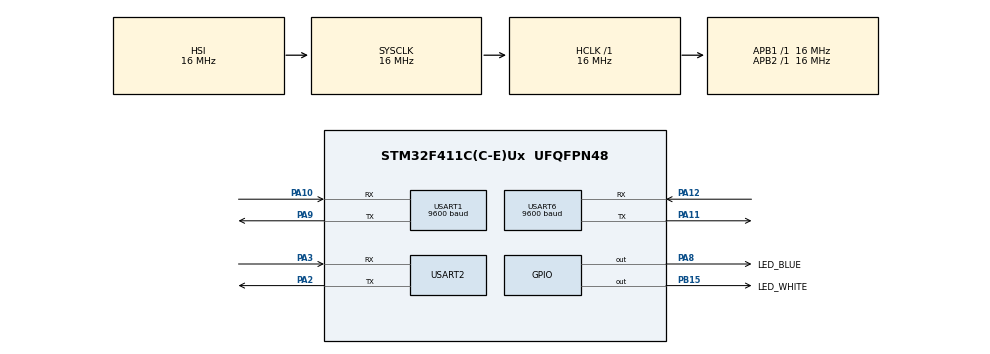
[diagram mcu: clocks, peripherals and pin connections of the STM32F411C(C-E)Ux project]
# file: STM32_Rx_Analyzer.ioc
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Dma.Request0=USART1_RX
Dma.Request1=USART2_TX
Dma.Request2=USART6_RX
Dma.USART1_RX.0.Direction=DMA_PERIPH_TO_MEMORY
Dma.USART1_RX.0.FIFOMode=DMA_FIFOMODE_DISABLE
Dma.USART1_RX.0.Instance=DMA2_Stream2
Dma.USART1_RX.0.MemDataAlignment=DMA_MDATAALIGN_BYTE
Dma.USART1_RX.0.MemInc=DMA_MINC_ENABLE
Dma.USART1_RX.0.Mode=DMA_NORMAL
Dma.USART1_RX.0.PeriphDataAlignment=DMA_PDATAALIGN_BYTE
Dma.USART1_RX.0.PeriphInc=DMA_PINC_DISABLE
Dma.USART1_RX.0.Priority=DMA_PRIORITY_LOW
Dma.USART2_TX.1.Direction=DMA_MEMORY_TO_PERIPH
Dma.USART2_TX.1.FIFOMode=DMA_FIFOMODE_DISABLE
Dma.USART2_TX.1.Instance=DMA1_Stream6
Dma.USART2_TX.1.MemDataAlignment=DMA_MDATAALIGN_BYTE
Dma.USART2_TX.1.MemInc=DMA_MINC_ENABLE
Dma.USART2_TX.1.Mode=DMA_NORMAL
Dma.USART2_TX.1.PeriphDataAlignment=DMA_PDATAALIGN_BYTE
Dma.USART2_TX.1.PeriphInc=DMA_PINC_DISABLE
Dma.USART2_TX.1.Priority=DMA_PRIORITY_LOW
Dma.USART6_RX.2.Direction=DMA_PERIPH_TO_MEMORY
Dma.USART6_RX.2.FIFOMode=DMA_FIFOMODE_DISABLE
Dma.USART6_RX.2.Instance=DMA2_Stream1
Dma.USART6_RX.2.MemDataAlignment=DMA_MDATAALIGN_BYTE
Dma.USART6_RX.2.MemInc=DMA_MINC_ENABLE
Dma.USART6_RX.2.Mode=DMA_NORMAL
Dma.USART6_RX.2.PeriphDataAlignment=DMA_PDATAALIGN_BYTE
Dma.USART6_RX.2.PeriphInc=DMA_PINC_DISABLE
Dma.USART6_RX.2.Priority=DMA_PRIORITY_LOW
FREERTOS.BinarySemaphores01=txdReadySema,Dynamic,NULL;bufferAccessSema,Dynamic,NULL
FREERTOS.CountingSemaphores01=availRowCntSema,2,Dynamic,NULL
FREERTOS.Tasks01=defaultTask,24,128,StartDefaultTask,Default,NULL,Dynamic,NULL,NULL;parseNewMsgtask,8,128,StartNewMsgTask,Default,NULL,Dynamic,NULL,NULL
Mcu.Family=STM32F4
Mcu.Name=STM32F411C(C-E)Ux
Mcu.Package=UFQFPN48
NVIC.DMA1_Stream6_IRQn=true\:5\:0\:false\:false\:true\:true\:false\:true
NVIC.DMA2_Stream1_IRQn=true\:5\:0\:false\:false\:true\:true\:false\:true
NVIC.DMA2_Stream2_IRQn=true\:5\:0\:false\:false\:true\:true\:false\:true
NVIC.PriorityGroup=NVIC_PRIORITYGROUP_4
NVIC.TIM5_IRQn=true\:15\:0\:false\:false\:true\:false\:false\:true
NVIC.TimeBase=TIM5_IRQn
NVIC.TimeBaseIP=TIM5
NVIC.USART1_IRQn=true\:5\:0\:false\:false\:true\:true\:true\:true
NVIC.USART2_IRQn=true\:5\:0\:false\:false\:true\:true\:true\:true
NVIC.USART6_IRQn=true\:5\:0\:false\:false\:true\:true\:true\:true
PA10.Mode=Asynchronous
PA10.Signal=USART1_RX
PA11.Mode=Asynchronous
PA11.Signal=USART6_TX
PA12.Mode=Asynchronous
PA12.Signal=USART6_RX
PA2.Mode=Asynchronous
PA2.Signal=USART2_TX
PA3.Mode=Asynchronous
PA3.Signal=USART2_RX
PA8.GPIO_Label=LED_BLUE
PA8.Signal=GPIO_Output
PA9.Mode=Asynchronous
PA9.Signal=USART1_TX
PB15.GPIO_Label=LED_WHITE
PB15.Signal=GPIO_Output
ProjectManager.HeapSize=0x200
ProjectManager.StackSize=0x400
ProjectManager.TargetToolchain=STM32CubeIDE
RCC.AHBFreq_Value=16000000
RCC.APB1Freq_Value=16000000
RCC.APB2Freq_Value=16000000
RCC.CortexFreq_Value=16000000
RCC.HSE_VALUE=25000000
RCC.HSI_VALUE=16000000
RCC.LSE_VALUE=32768
RCC.SYSCLKFreq_VALUE=16000000
RCC.VCOOutputFreq_Value=192000000
USART1.BaudRate=9600
USART1.VirtualMode=VM_ASYNC
USART2.VirtualMode=VM_ASYNC
USART6.BaudRate=9600
USART6.VirtualMode=VM_ASYNC
VP_FREERTOS_VS_CMSIS_V2.Mode=CMSIS_V2
VP_SYS_VS_tim5.Mode=TIM5
board=custom

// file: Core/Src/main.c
/* USER CODE BEGIN Header */
/**
  ******************************************************************************
  * @file           : main.c
  * @brief          : Main program body
  ******************************************************************************
  * @attention
  *
  * <h2><center>&copy; Copyright (c) 2021 STMicroelectronics.
  * All rights reserved.</center></h2>
  *
  * This software component is licensed by ST under BSD 3-Clause license,
  * the "License"; You may not use this file except in compliance with the
  * License. You may obtain a copy of the License at:
  *                        opensource.org/licenses/BSD-3-Clause
  *
  ******************************************************************************
  */
/* USER CODE END Header */
#include "main.h"
#include "cmsis_os.h"

/* USER CODE BEGIN Includes */
#include <string.h>
#include <stdio.h>
#include <stdbool.h>

/* USER CODE END Includes */

/* USER CODE BEGIN PTD */
#define MSG_ROW_LEN   255
#define MSG_ROWS      8
#define RX_BUF_SIZE   512
#define TX_BUF_SIZE   80
#define MAIN_BUF_SIZE 2048

typedef struct
{
	uint32_t TimeStamp;
	uint16_t DataLen;
	uint8_t  Source;
	uint8_t  Data[MSG_ROW_LEN];
} MsgData_st;

typedef struct
{
	MsgData_st Row[MSG_ROWS];
	uint8_t    head_indx;
	uint8_t    tail_indx;
} MsgBook_st;

/* USER CODE END PTD */

UART_HandleTypeDef huart1;
UART_HandleTypeDef huart2;
UART_HandleTypeDef huart6;
DMA_HandleTypeDef hdma_usart1_rx;
DMA_HandleTypeDef hdma_usart2_tx;
DMA_HandleTypeDef hdma_usart6_rx;

/* Definitions for defaultTask */
osThreadId_t defaultTaskHandle;
const osThreadAttr_t defaultTask_attributes = {
  .name = "defaultTask",
  .stack_size = 128 * 4,
  .priority = (osPriority_t) osPriorityNormal,
};
/* Definitions for parseNewMsgtask */
osThreadId_t parseNewMsgtaskHandle;
const osThreadAttr_t parseNewMsgtask_attributes = {
  .name = "parseNewMsgtask",
  .stack_size = 128 * 4,
  .priority = (osPriority_t) osPriorityLow,
};
/* Definitions for txdReadySema */
osSemaphoreId_t txdReadySemaHandle;
const osSemaphoreAttr_t txdReadySema_attributes = {
  .name = "txdReadySema"
};
/* Definitions for bufferAccessSema */
osSemaphoreId_t bufferAccessSemaHandle;
const osSemaphoreAttr_t bufferAccessSema_attributes = {
  .name = "bufferAccessSema"
};
/* Definitions for availRowCntSema */
osSemaphoreId_t availRowCntSemaHandle;
const osSemaphoreAttr_t availRowCntSema_attributes = {
  .name = "availRowCntSema"
};

void SystemClock_Config(void);
static void MX_GPIO_Init(void);
static void MX_DMA_Init(void);
static void MX_USART1_UART_Init(void);
static void MX_USART2_UART_Init(void);
static void MX_USART6_UART_Init(void);
void StartDefaultTask(void *argument);
void StartNewMsgTask(void *argument);

/* USER CODE BEGIN 0 */
uint8_t RxBuf1[RX_BUF_SIZE];
uint8_t RxBuf6[RX_BUF_SIZE];
//uint8_t RxBuf2[RX_BUF_SIZE];
char    TxBuf2[TX_BUF_SIZE];

//uint8_t MainBuf[MAIN_BUF_SIZE];

MsgBook_st MsgBook;
uint32_t millis = 0;
bool     uart2_tx_done;

void HAL_UARTEx_RxEventCallback(UART_HandleTypeDef *huart, uint16_t Size)
{

	osStatus_t osRes;
	if (huart->Instance == USART6)
	{
		HAL_GPIO_TogglePin(LED_BLUE_GPIO_Port, LED_BLUE_Pin);
		MsgBook.Row[MsgBook.head_indx].Source = 6;
		MsgBook.Row[MsgBook.head_indx].DataLen = Size;
		MsgBook.Row[MsgBook.head_indx].TimeStamp = millis;
		memcpy(MsgBook.Row[MsgBook.head_indx].Data, RxBuf6, Size);

		MsgBook.head_indx++;
		if (MsgBook.head_indx >= MSG_ROWS)
		{
			MsgBook.head_indx = 0;
		}
		osSemaphoreRelease(availRowCntSemaHandle);

		/* start the DMA again */
		HAL_UARTEx_ReceiveToIdle_DMA(&huart6, (uint8_t *) RxBuf6, RX_BUF_SIZE);
		__HAL_DMA_DISABLE_IT(&hdma_usart6_rx, DMA_IT_HT);

	}

	if (huart->Instance == USART1)
	{
		HAL_GPIO_TogglePin(LED_WHITE_GPIO_Port, LED_WHITE_Pin);
		//oldPos = newPos;  // Update the last position before copying new data
		MsgBook.Row[MsgBook.head_indx].Source = 1;
		MsgBook.Row[MsgBook.head_indx].DataLen = Size;
		MsgBook.Row[MsgBook.head_indx].TimeStamp = millis;
		memcpy(MsgBook.Row[MsgBook.head_indx].Data, RxBuf1, Size);

		MsgBook.head_indx++;
		if (MsgBook.head_indx >= MSG_ROWS)
		{
			MsgBook.head_indx = 0;
		}

		osSemaphoreRelease(availRowCntSemaHandle);

		/* start the DMA again */
		HAL_UARTEx_ReceiveToIdle_DMA(&huart1, (uint8_t *) RxBuf1, RX_BUF_SIZE);
		__HAL_DMA_DISABLE_IT(&hdma_usart1_rx, DMA_IT_HT);
	}

}

void HAL_UART_TxCpltCallback(UART_HandleTypeDef *huart)
{
	if (huart->Instance == USART2)
	{
		osSemaphoreRelease(txdReadySemaHandle);
		uart2_tx_done = true;
		__HAL_DMA_DISABLE_IT(&hdma_usart2_tx, DMA_IT_HT);
	}
}

/* USER CODE END 0 */

int main(void)
{
  /* USER CODE BEGIN 1 */
	char txt[80];
  /* USER CODE END 1 */

  /* MCU Configuration--------------------------------------------------------*/

  /* Reset of all peripherals, Initializes the Flash interface and the Systick. */
  HAL_Init();

  /* Configure the system clock */
  SystemClock_Config();

  /* Initialize all configured peripherals */
  MX_GPIO_Init();
  MX_DMA_Init();
  MX_USART1_UART_Init();
  MX_USART2_UART_Init();
  MX_USART6_UART_Init();
  /* USER CODE BEGIN 2 */
  memset(&MsgBook,0x00,sizeof(MsgBook));

  HAL_UART_MspInit(&huart2);
  memset(TxBuf2, 0x00, TX_BUF_SIZE);

  HAL_UARTEx_ReceiveToIdle_DMA(&huart6, RxBuf6, RX_BUF_SIZE);
  __HAL_DMA_DISABLE_IT(&hdma_usart6_rx, DMA_IT_HT);

  HAL_UARTEx_ReceiveToIdle_DMA(&huart1, RxBuf1, RX_BUF_SIZE);
  __HAL_DMA_DISABLE_IT(&hdma_usart1_rx, DMA_IT_HT);

  //HAL_UART_Transmit_DMA(&huart2, TxBuf2, TX_BUF_SIZE);

  //osRes = osSemaphoreRelease(newRowSemaHandle);
  sprintf(txt,"STM32Tx_Analyzer Blackpill \r\n");
  HAL_UART_Transmit(&huart2, (uint8_t*)txt, strlen(txt),HAL_MAX_DELAY);

  /* USER CODE END 2 */

  /* Init scheduler */
  osKernelInitialize();

  /* Create the semaphores(s) */
  /* creation of txdReadySema */
  txdReadySemaHandle = osSemaphoreNew(1, 1, &txdReadySema_attributes);

  /* creation of bufferAccessSema */
  bufferAccessSemaHandle = osSemaphoreNew(1, 1, &bufferAccessSema_attributes);

  /* creation of availRowCntSema */
  availRowCntSemaHandle = osSemaphoreNew(2, 2, &availRowCntSema_attributes);

  /* Create the thread(s) */
  /* creation of defaultTask */
  defaultTaskHandle = osThreadNew(StartDefaultTask, NULL, &defaultTask_attributes);

  /* creation of parseNewMsgtask */
  parseNewMsgtaskHandle = osThreadNew(StartNewMsgTask, NULL, &parseNewMsgtask_attributes);

  /* Start scheduler */
  osKernelStart();

  /* We should never get here as control is now taken by the scheduler */
  /* Infinite loop */
  /* USER CODE BEGIN WHILE */
  sprintf(txt,"STM32F411_Rx_Analyzer\r\n");
  HAL_UART_Transmit(&huart2, (uint8_t*)txt, strlen(txt),HAL_MAX_DELAY);
  while (1)
  {
    /* USER CODE END WHILE */

  }
}

void SystemClock_Config(void)
{
  RCC_OscInitTypeDef RCC_OscInitStruct = {0};
  RCC_ClkInitTypeDef RCC_ClkInitStruct = {0};

  /** Configure the main internal regulator output voltage
  */
  __HAL_RCC_PWR_CLK_ENABLE();
  __HAL_PWR_VOLTAGESCALING_CONFIG(PWR_REGULATOR_VOLTAGE_SCALE1);
  /** Initializes the RCC Oscillators according to the specified parameters
  * in the RCC_OscInitTypeDef structure.
  */
  RCC_OscInitStruct.OscillatorType = RCC_OSCILLATORTYPE_HSI;
  RCC_OscInitStruct.HSIState = RCC_HSI_ON;
  RCC_OscInitStruct.HSICalibrationValue = RCC_HSICALIBRATION_DEFAULT;
  RCC_OscInitStruct.PLL.PLLState = RCC_PLL_NONE;
  if (HAL_RCC_OscConfig(&RCC_OscInitStruct) != HAL_OK)
  {
    Error_Handler();
  }
  /** Initializes the CPU, AHB and APB buses clocks
  */
  RCC_ClkInitStruct.ClockType = RCC_CLOCKTYPE_HCLK|RCC_CLOCKTYPE_SYSCLK
                              |RCC_CLOCKTYPE_PCLK1|RCC_CLOCKTYPE_PCLK2;
  RCC_ClkInitStruct.SYSCLKSource = RCC_SYSCLKSOURCE_HSI;
  RCC_ClkInitStruct.AHBCLKDivider = RCC_SYSCLK_DIV1;
  RCC_ClkInitStruct.APB1CLKDivider = RCC_HCLK_DIV1;
  RCC_ClkInitStruct.APB2CLKDivider = RCC_HCLK_DIV1;

  if (HAL_RCC_ClockConfig(&RCC_ClkInitStruct, FLASH_LATENCY_0) != HAL_OK)
  {
    Error_Handler();
  }
}

static void MX_USART1_UART_Init(void)
{

  huart1.Instance = USART1;
  huart1.Init.BaudRate = 9600;
  huart1.Init.WordLength = UART_WORDLENGTH_8B;
  huart1.Init.StopBits = UART_STOPBITS_1;
  huart1.Init.Parity = UART_PARITY_NONE;
  huart1.Init.Mode = UART_MODE_TX_RX;
  huart1.Init.HwFlowCtl = UART_HWCONTROL_NONE;
  huart1.Init.OverSampling = UART_OVERSAMPLING_16;
  if (HAL_UART_Init(&huart1) != HAL_OK)
  {
    Error_Handler();
  }

}

static void MX_USART2_UART_Init(void)
{

  huart2.Instance = USART2;
  huart2.Init.BaudRate = 115200;
  huart2.Init.WordLength = UART_WORDLENGTH_8B;
  huart2.Init.StopBits = UART_STOPBITS_1;
  huart2.Init.Parity = UART_PARITY_NONE;
  huart2.Init.Mode = UART_MODE_TX_RX;
  huart2.Init.HwFlowCtl = UART_HWCONTROL_NONE;
  huart2.Init.OverSampling = UART_OVERSAMPLING_16;
  if (HAL_UART_Init(&huart2) != HAL_OK)
  {
    Error_Handler();
  }

}

static void MX_USART6_UART_Init(void)
{

  huart6.Instance = USART6;
  huart6.Init.BaudRate = 9600;
  huart6.Init.WordLength = UART_WORDLENGTH_8B;
  huart6.Init.StopBits = UART_STOPBITS_1;
  huart6.Init.Parity = UART_PARITY_NONE;
  huart6.Init.Mode = UART_MODE_TX_RX;
  huart6.Init.HwFlowCtl = UART_HWCONTROL_NONE;
  huart6.Init.OverSampling = UART_OVERSAMPLING_16;
  if (HAL_UART_Init(&huart6) != HAL_OK)
  {
    Error_Handler();
  }

}

static void MX_DMA_Init(void)
{

  /* DMA controller clock enable */
  __HAL_RCC_DMA2_CLK_ENABLE();
  __HAL_RCC_DMA1_CLK_ENABLE();

  /* DMA interrupt init */
  /* DMA1_Stream6_IRQn interrupt configuration */
  HAL_NVIC_SetPriority(DMA1_Stream6_IRQn, 5, 0);
  HAL_NVIC_EnableIRQ(DMA1_Stream6_IRQn);
  /* DMA2_Stream1_IRQn interrupt configuration */
  HAL_NVIC_SetPriority(DMA2_Stream1_IRQn, 5, 0);
  HAL_NVIC_EnableIRQ(DMA2_Stream1_IRQn);
  /* DMA2_Stream2_IRQn interrupt configuration */
  HAL_NVIC_SetPriority(DMA2_Stream2_IRQn, 5, 0);
  HAL_NVIC_EnableIRQ(DMA2_Stream2_IRQn);

}

static void MX_GPIO_Init(void)
{
  GPIO_InitTypeDef GPIO_InitStruct = {0};

  /* GPIO Ports Clock Enable */
  __HAL_RCC_GPIOA_CLK_ENABLE();
  __HAL_RCC_GPIOB_CLK_ENABLE();

  /*Configure GPIO pin Output Level */
  HAL_GPIO_WritePin(LED_WHITE_GPIO_Port, LED_WHITE_Pin, GPIO_PIN_RESET);

  /*Configure GPIO pin Output Level */
  HAL_GPIO_WritePin(LED_BLUE_GPIO_Port, LED_BLUE_Pin, GPIO_PIN_RESET);

  /*Configure GPIO pin : LED_WHITE_Pin */
  GPIO_InitStruct.Pin = LED_WHITE_Pin;
  GPIO_InitStruct.Mode = GPIO_MODE_OUTPUT_PP;
  GPIO_InitStruct.Pull = GPIO_NOPULL;
  GPIO_InitStruct.Speed = GPIO_SPEED_FREQ_LOW;
  HAL_GPIO_Init(LED_WHITE_GPIO_Port, &GPIO_InitStruct);

  /*Configure GPIO pin : LED_BLUE_Pin */
  GPIO_InitStruct.Pin = LED_BLUE_Pin;
  GPIO_InitStruct.Mode = GPIO_MODE_OUTPUT_PP;
  GPIO_InitStruct.Pull = GPIO_NOPULL;
  GPIO_InitStruct.Speed = GPIO_SPEED_FREQ_LOW;
  HAL_GPIO_Init(LED_BLUE_GPIO_Port, &GPIO_InitStruct);

}

void StartDefaultTask(void *argument)
{
  for(;;)
  {
    osDelay(1);
  }
}

void StartNewMsgTask(void *argument)
{
  /* USER CODE BEGIN StartNewMsgTask */
	char txt[40];
	osStatus_t osRes;
	sprintf(txt,"Parse 1 \r\n");
	//HAL_UART_Transmit(&huart2, (uint8_t*)txt, strlen(txt),HAL_MAX_DELAY);

	osRes = osSemaphoreAcquire(availRowCntSemaHandle, osWaitForever);  // Wait for new messages
	//osSemaphoreRelease(bufferAccessSemaHandle);
	osSemaphoreRelease(txdReadySemaHandle);

	//sprintf(txt,"Parse 2 \r\n");
	//HAL_UART_Transmit(&huart2, (uint8_t*)txt, strlen(txt),HAL_MAX_DELAY);

	while( osSemaphoreGetCount(availRowCntSemaHandle) > 0)
	{
		osSemaphoreAcquire(availRowCntSemaHandle,0);
	}

	sprintf(txt,"Parse 3 \r\n");
	//HAL_UART_Transmit(&huart2, (uint8_t*)txt, strlen(txt),HAL_MAX_DELAY);

  /* Infinite loop */
  for(;;)
  {
	  if (osSemaphoreGetCount(availRowCntSemaHandle) > 0)
	  //if (msg_tail_row != msg_head_row )
	  {
		  osRes = osSemaphoreAcquire(availRowCntSemaHandle, osWaitForever);

		  //sprintf(txt,"Parse 4 \r\n");
		//HAL_UART_Transmit(&huart2, (uint8_t*)txt, strlen(txt),HAL_MAX_DELAY);

		  osRes = osSemaphoreAcquire(txdReadySemaHandle, osWaitForever);
		  if (osRes == osOK)
		  //if(MsgBook[msg_tail_row].DataLen > 0 )
		  {

			  snprintf(TxBuf2,254,"%lu [%d] %s",
					  MsgBook.Row[MsgBook.tail_indx].TimeStamp,
					  MsgBook.Row[MsgBook.tail_indx].Source,
					  MsgBook.Row[MsgBook.tail_indx].Data);
			  //snprintf(TxBuf2,16,"ABCDEGH %d\r\n",msg_cntr++);

			  uart2_tx_done = false;
			  HAL_UART_Transmit_DMA(&huart2, (uint8_t *)TxBuf2, strlen(TxBuf2));
			  //HAL_UART_Transmit_DMA(&huart2, (uint8_t *)MsgBook[msg_tail_row].Data, MsgBook[msg_tail_row].DataLen);
			  __disable_irq();
			  MsgBook.Row[MsgBook.tail_indx].DataLen = 0;
			  if (++MsgBook.tail_indx >= MSG_ROWS)  MsgBook.tail_indx = 0;
			  __enable_irq();

			  while ( !uart2_tx_done )
			  {
				  osDelay(10);
			  }

			  /*
			  HAL_UART_Transmit_IT(&huart2, TxBuf2, sizeof (txt));
			  HAL_UART_Transmit(&huart2, (uint8_t*)txt, strlen(txt),HAL_MAX_DELAY);
			  HAL_UART_Transmit_IT(&huart2, (uint8_t*)MsgBook[msg_tail_row].Data, MsgBook[msg_tail_row].DataLen);
			  */
		  }
	  }

  }
  /* USER CODE END StartNewMsgTask */
}

void HAL_TIM_PeriodElapsedCallback(TIM_HandleTypeDef *htim)
{
  if (htim->Instance == TIM5) {
    HAL_IncTick();
  }
}

void Error_Handler(void)
{
  __disable_irq();
  while (1)
  {
  }
}

/************************ (C) COPYRIGHT STMicroelectronics *****END OF FILE****/
